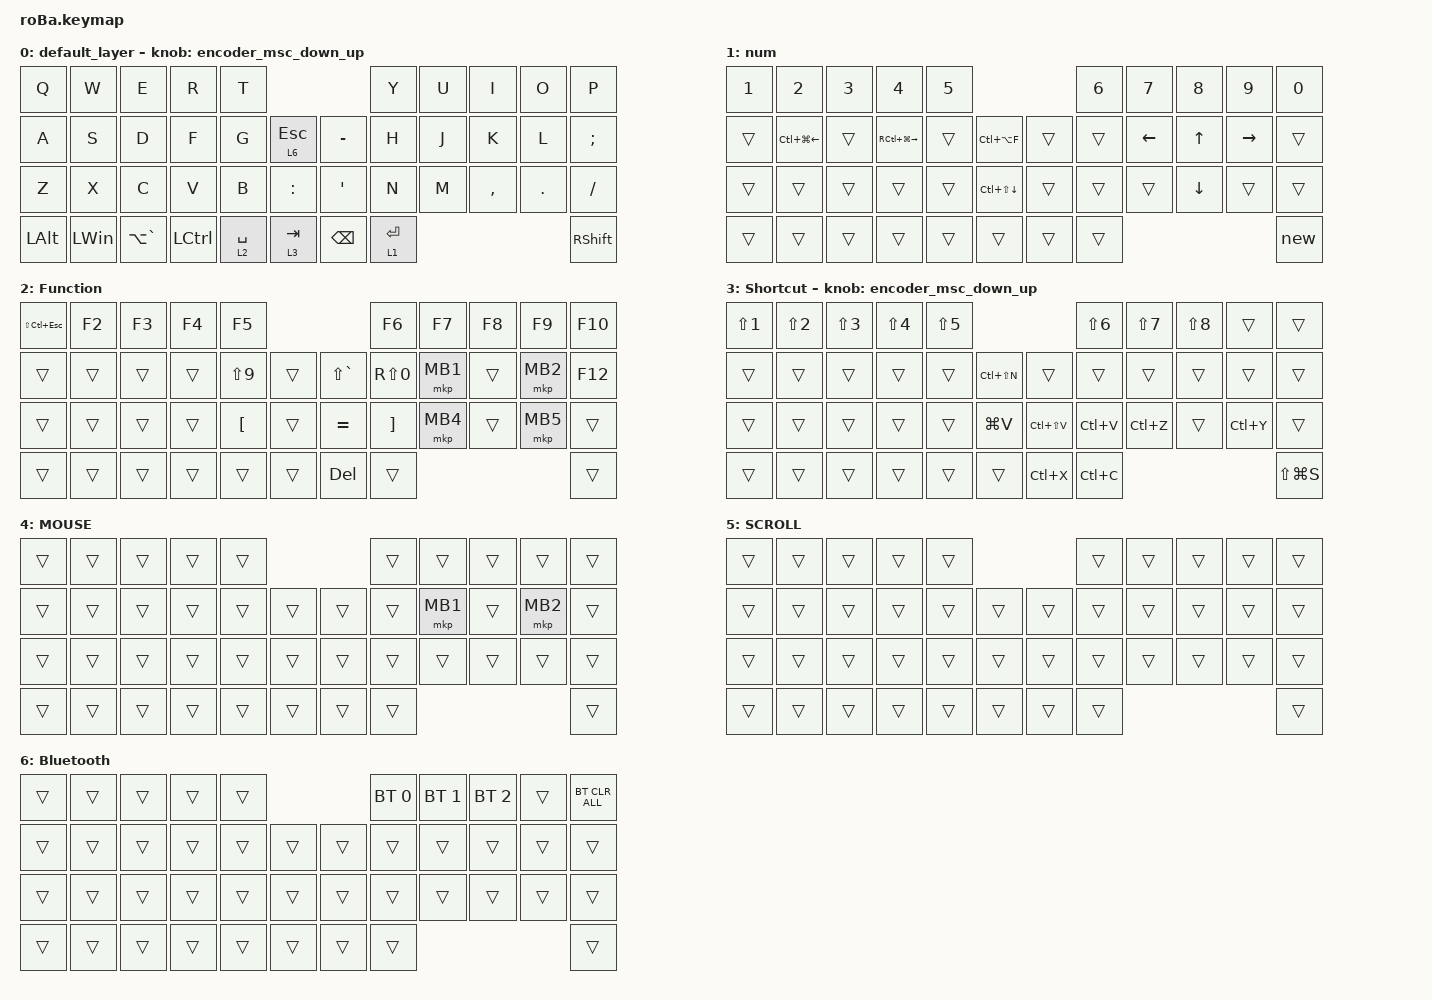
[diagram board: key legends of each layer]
#define ZMK_POINTING_DEFAULT_SCRL_VAL 100

#include <behaviors.dtsi>
#include <dt-bindings/zmk/bt.h>
#include <dt-bindings/zmk/keys.h>
#include <dt-bindings/zmk/pointing.h>

&mt {
    flavor = "balanced";
    quick-tap-ms = <0>;
};

&trackball {
    automouse-layer = <4>;
    scroll-layers = <5>;

    // arrows {
    //     layers = <3>;
    //     bindings =
    //         <&kp RIGHT_ARROW>,
    //         <&kp LEFT_ARROW>,
    //         <&kp UP_ARROW>,
    //         <&kp DOWN_ARROW>;
    //     tick = <10>;
    //     wait-ms = <5>;
    //     tap-ms = <5>;
    // };
};

/ {
    combos { compatible = "zmk,combos"; };

    macros {
        new: new {
            compatible = "zmk,behavior-macro";
            #binding-cells = <0>;
            bindings = <&kp M &kp M &kp N6 &kp C &kp Q &kp P &kp J &kp N6 &kp U &kp E>;
            label = "NEW";
        };
    };

    encoder_msc_down_up: encoder_msc_down_up {
        compatible = "zmk,behavior-sensor-rotate";
        label = "ENCODER_MSC_DOWN_UP";
        #sensor-binding-cells = <0>;
        bindings = <&msc SCRL_DOWN>, <&msc SCRL_UP>;

        // 追加: スクロールのタップ時間を設定 (20ms)

        tap-ms = <20>;
    };

    behaviors {
  };

    keymap {
        compatible = "zmk,keymap";

        default_layer {
            bindings = <
&kp Q         &kp W         &kp E          &kp R      &kp T                                         &kp Y        &kp U  &kp I      &kp O    &kp P
&kp A         &kp S         &kp D          &kp F      &kp G        &lt 6 ESCAPE      &kp MINUS      &kp H        &kp J  &kp K      &kp L    &kp SEMICOLON
&kp Z         &kp X         &kp C          &kp V      &kp B        &kp COLON         &kp SQT        &kp N        &kp M  &kp COMMA  &kp DOT  &kp SLASH
&kp LEFT_ALT  &kp LEFT_WIN  &kp LA(GRAVE)  &kp LCTRL  &lt 2 SPACE  &lt 3 TAB         &kp BACKSPACE  &lt 1 ENTER                             &kp RIGHT_SHIFT
            >;

            sensor-bindings = <&encoder_msc_down_up>;
        };

        num {
            bindings = <
&kp NUMBER_1  &kp NUMBER_2            &kp NUMBER_3  &kp NUMBER_4             &kp N5                                      &kp NUMBER_6  &kp N7          &kp N8          &kp N9           &kp N0
&trans        &kp LC(LG(LEFT_ARROW))  &trans        &kp RC(LG(RIGHT_ARROW))  &trans  &kp LC(LA(F))               &trans  &trans        &kp LEFT_ARROW  &kp UP_ARROW    &kp RIGHT_ARROW  &trans
&trans        &trans                  &trans        &trans                   &trans  &kp LC(LS(DOWN_ARROW))      &trans  &trans        &trans          &kp DOWN_ARROW  &trans           &trans
&trans        &trans                  &trans        &trans                   &trans  &trans                      &trans  &trans                                                         &new
            >;
        };

        Function {
            bindings = <
&kp LS(LC(ESCAPE))  &kp F2  &kp F3  &kp F4  &kp F5                                       &kp F6             &kp F7    &kp F8  &kp F9    &kp F10
&trans              &trans  &trans  &trans  &kp LS(N9)        &trans      &kp LS(GRAVE)  &kp RS(N0)         &mkp MB1  &trans  &mkp MB2  &kp F12
&trans              &trans  &trans  &trans  &kp LEFT_BRACKET  &trans      &kp EQUAL      &kp RIGHT_BRACKET  &mkp MB4  &trans  &mkp MB5  &trans
&trans              &trans  &trans  &trans  &trans            &trans      &kp DELETE     &trans                                         &trans
            >;
        };

        Shortcut {
            bindings = <
&kp LS(NUMBER_1)  &kp LS(NUMBER_2)  &kp LS(NUMBER_3)  &kp LS(NUMBER_4)  &kp LS(N5)                                    &kp LS(NUMBER_6)  &kp LS(N7)  &kp LS(N8)  &trans     &trans
&trans            &trans            &trans            &trans            &trans      &kp LC(LS(N))      &trans         &trans            &trans      &trans      &trans     &trans
&trans            &trans            &trans            &trans            &trans      &kp LG(V)          &kp LC(LS(V))  &kp LC(V)         &kp LC(Z)   &trans      &kp LC(Y)  &trans
&trans            &trans            &trans            &trans            &trans      &trans             &kp LC(X)      &kp LC(C)                                            &kp LS(LG(S))
            >;

            sensor-bindings = <&encoder_msc_down_up>;
        };

        MOUSE {
            bindings = <
&trans  &trans  &trans  &trans  &trans                      &trans  &trans    &trans  &trans    &trans
&trans  &trans  &trans  &trans  &trans  &trans      &trans  &trans  &mkp MB1  &trans  &mkp MB2  &trans
&trans  &trans  &trans  &trans  &trans  &trans      &trans  &trans  &trans    &trans  &trans    &trans
&trans  &trans  &trans  &trans  &trans  &trans      &trans  &trans                              &trans
            >;
        };

        SCROLL {
            bindings = <
&trans  &trans  &trans  &trans  &trans                      &trans  &trans  &trans  &trans  &trans
&trans  &trans  &trans  &trans  &trans  &trans      &trans  &trans  &trans  &trans  &trans  &trans
&trans  &trans  &trans  &trans  &trans  &trans      &trans  &trans  &trans  &trans  &trans  &trans
&trans  &trans  &trans  &trans  &trans  &trans      &trans  &trans                          &trans
            >;
        };

        Bluetooth {
            bindings = <
&trans  &trans  &trans  &trans  &trans                      &bt BT_SEL 0  &bt BT_SEL 1  &bt BT_SEL 2  &trans  &bt BT_CLR_ALL
&trans  &trans  &trans  &trans  &trans  &trans      &trans  &trans        &trans        &trans        &trans  &trans
&trans  &trans  &trans  &trans  &trans  &trans      &trans  &trans        &trans        &trans        &trans  &trans
&trans  &trans  &trans  &trans  &trans  &trans      &trans  &trans                                            &trans
            >;
        };
    };
};
